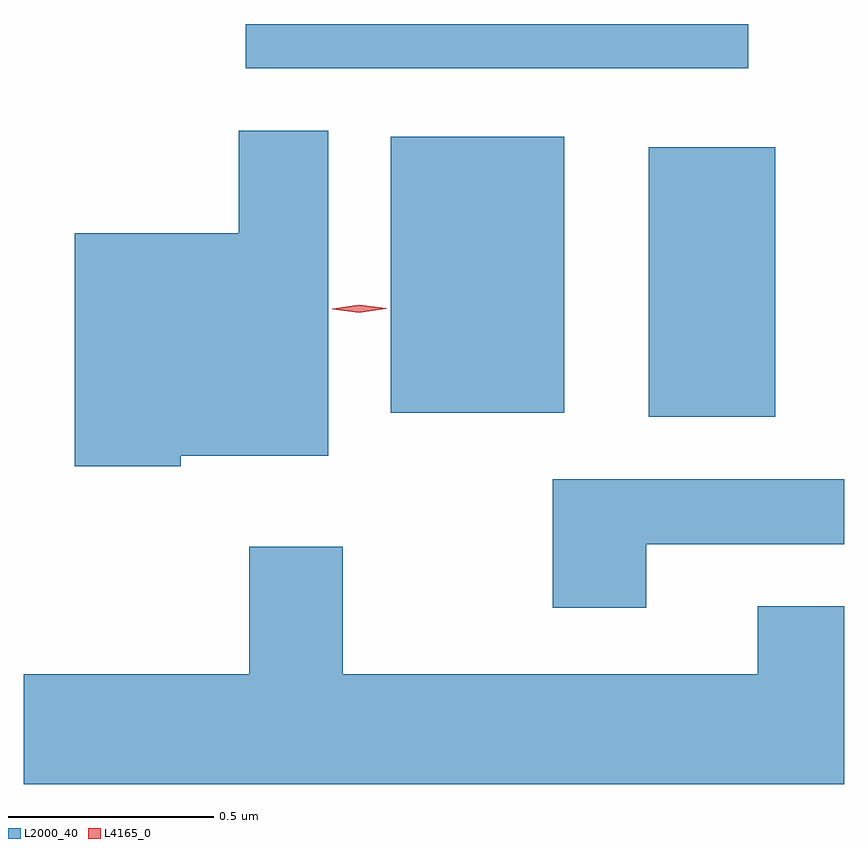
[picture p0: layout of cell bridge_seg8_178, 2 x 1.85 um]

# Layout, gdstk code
import gdstk
lib = gdstk.Library(unit=1e-6, precision=1e-09)
def R(c, l, rs):  # rectangles x0, y0, x1, y1
    for r in rs: c.add(gdstk.rectangle(r[:2], r[2:], *l))
def P(c, l, *ps):  # polygons
    for p in ps: c.add(gdstk.Polygon(p, *l))
L2000_40 = (2000, 40)
L4165_0 = (4165, 0)

bridge_seg8_178 = lib.new_cell('bridge_seg8_178')
R(bridge_seg8_178, L2000_40, [(1357.006,1937.211,1357.314,1937.869), (1356.376,1937.221,1356.799,1937.894), (1356.023,1938.061,1357.248,1938.169)])
P(bridge_seg8_178, L2000_40, [(1355.864,1937.116),(1356.224,1937.116),(1356.224,1937.909),(1356.006,1937.909),(1356.006,1937.659),(1355.606,1937.659),(1355.606,1937.091),(1355.864,1937.091)],
  [(1356.999,1936.901),(1357.482,1936.901),(1357.482,1937.059),(1356.771,1937.059),(1356.771,1936.746),(1356.999,1936.746)],
  [(1357.482,1936.749),(1357.271,1936.749),(1357.271,1936.584),(1356.259,1936.584),(1356.259,1936.894),(1356.031,1936.894),(1356.031,1936.584),(1355.482,1936.584),(1355.482,1936.316),(1357.482,1936.316)])
P(bridge_seg8_178, L4165_0, [(1356.3,1937.465),(1356.234,1937.474),(1356.234,1937.475),(1356.234,1937.475),(1356.3,1937.485),(1356.366,1937.476),(1356.366,1937.476),(1356.366,1937.475)])

lib.write_gds('bridge_seg8_178.gds')
